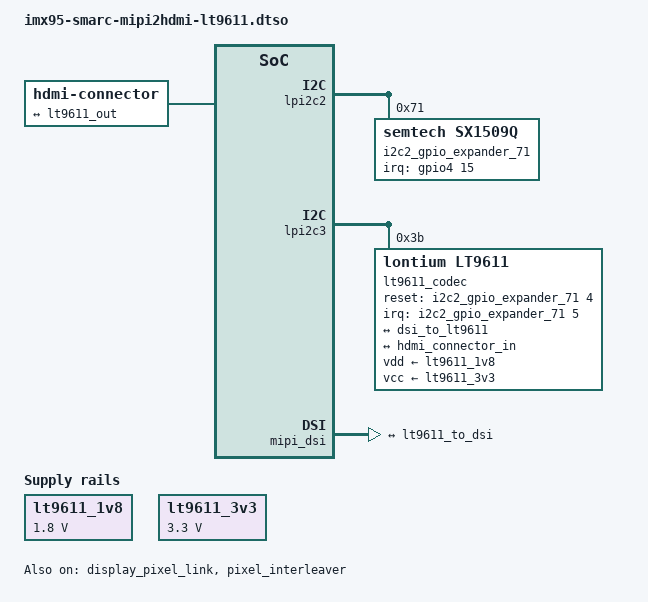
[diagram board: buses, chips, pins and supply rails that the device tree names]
// SPDX-License-Identifier: (GPL-2.0+ OR MIT)
/*
 * Copyright 2026 Jason Yang <jasonyang@ieiworld.com>
 */

#include <dt-bindings/gpio/gpio.h>
#include <dt-bindings/interrupt-controller/irq.h>

#include "imx95-clock.h"
#include "imx95-pinfunc.h"

/dts-v1/;
/plugin/;

&{/} {
	lt9611_1v8: regulator-lt9611-1v8 {
		compatible = "regulator-fixed";
		regulator-name = "lt9611_1v8";
		regulator-min-microvolt = <1800000>;
		regulator-max-microvolt = <1800000>;
		regulator-always-on;
	};

	lt9611_3v3: regulator-lt9611-3v3 {
		compatible = "regulator-fixed";
		regulator-name = "lt9611_3v3";
		regulator-min-microvolt = <3300000>;
		regulator-max-microvolt = <3300000>;
		regulator-always-on;
	};

	hdmi-connector {
		compatible = "hdmi-connector";
		label = "hdmi";
		type = "a";

		port {
			hdmi_connector_in: endpoint {
				remote-endpoint = <&lt9611_out>;
			};
		};
	};

	sound-hdmi {
		compatible = "simple-audio-card";
		simple-audio-card,name = "sound-hdmi";
		simple-audio-card,format = "i2s";
		simple-audio-card,frame-master = <&hdmicpu>;
		simple-audio-card,bitclock-master = <&hdmicpu>;

		hdmicpu: simple-audio-card,cpu {
			sound-dai = <&sai1>;
		};

		simple-audio-card,codec {
			sound-dai = <&lt9611_codec 0>;
		};
	};

	sound-bt-sco {
		status = "disabled";
	};
};

&sai1 {
	clocks = <&scmi_clk IMX95_CLK_BUSAON>, <&dummy>,
		 <&scmi_clk IMX95_CLK_SAI1>, <&dummy>,
		 <&dummy>, <&scmi_clk IMX95_CLK_AUDIOPLL1>,
		 <&scmi_clk IMX95_CLK_AUDIOPLL2>;
	clock-names = "bus", "mclk0", "mclk1", "mclk2", "mclk3",
		      "pll8k", "pll11k";
	pll-max-freq-MHz = <50>;
};

&display_pixel_link {
	status = "okay";
};

&lpi2c2 {
	#address-cells = <1>;
	#size-cells = <0>;

	i2c2_gpio_expander_71: i2c2_gpio_expander_71@71 {
		#gpio-cells = <2>;
		#interrupt-cells = <2>;
		compatible = "semtech,sx1509q";
		reg = <0x71>;

		semtech,probe-reset;
		gpio-controller;
		interrupt-controller;
		interrupt-parent = <&gpio4>;
		interrupts = <15 IRQ_TYPE_LEVEL_LOW>;
		pinctrl-names = "default";
		pinctrl-0 = <&pinctrl_sx1509q>;

		status = "okay";
	};
};

&lpi2c3 {
	#address-cells = <1>;
	#size-cells = <0>;

	lt9611_codec: hdmi-bridge@3b {
		#sound-dai-cells = <1>;
		compatible = "lontium,lt9611";
		reg = <0x3b>;
		interrupts-extended = <&i2c2_gpio_expander_71 5 IRQ_TYPE_EDGE_FALLING>;
		reset-gpios = <&i2c2_gpio_expander_71 4 GPIO_ACTIVE_HIGH>;
		vdd-supply = <&lt9611_1v8>;
		vcc-supply = <&lt9611_3v3>;

		ports {
			#address-cells = <1>;
			#size-cells = <0>;

			port@0 {
				reg = <0>;

				lt9611_to_dsi: endpoint {
					remote-endpoint = <&dsi_to_lt9611>;
				};
			};

			port@2 {
				reg = <2>;

				lt9611_out: endpoint {
					remote-endpoint = <&hdmi_connector_in>;
				};
			};
		};
	};
};

&mipi_dsi {
	status = "okay";

	ports {
		#address-cells = <1>;
		#size-cells = <0>;

		port@1 {
			reg = <1>;
			dsi_to_lt9611: endpoint {
				remote-endpoint = <&lt9611_to_dsi>;
			};
		};
	};
};

&pixel_interleaver {
	#address-cells = <1>;
	#size-cells = <0>;
	status = "okay";

	channel@1 {
		reg = <1>;
		status = "okay";
	};
};

&scmi_iomuxc {
	pinctrl_sx1509q: sx1509qgrp {
		fsl,pins = <
			IMX95_PAD_ENET2_MDIO__GPIO4_IO_BIT15		0x1fe
		>;
	};
	pinctrl_lpi2c3: lpi2c3grp {
		fsl,pins = <
			IMX95_PAD_GPIO_IO28__LPI2C3_SDA			0x40000b9e
			IMX95_PAD_GPIO_IO29__LPI2C3_SCL			0x40000b9e
		>;
	};
};
